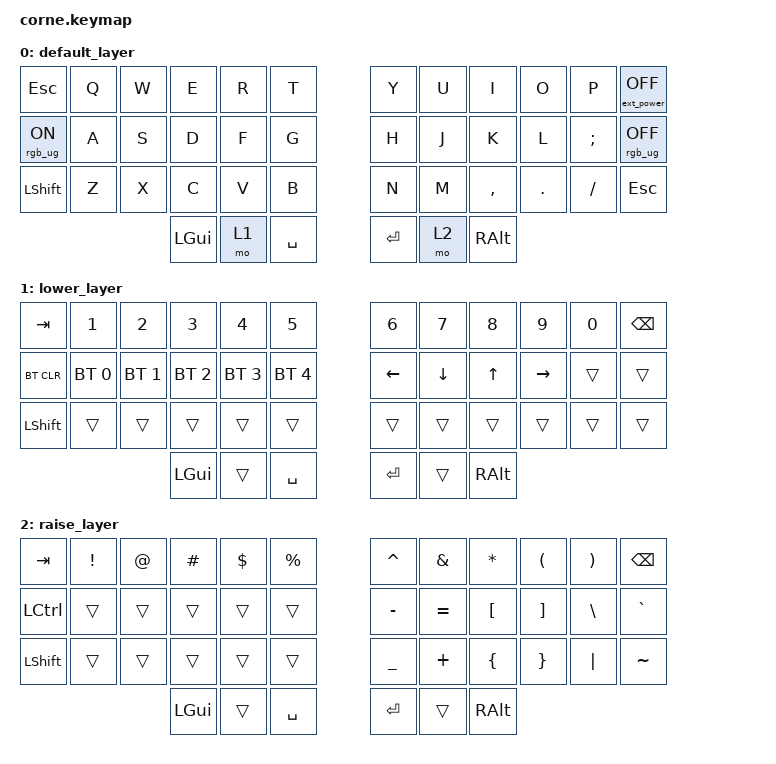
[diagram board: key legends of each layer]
/*
 * Copyright (c) 2020 The ZMK Contributors
 *
 * SPDX-License-Identifier: MIT
 */

#define ZMK_MOUSE_DEFAULT_SCRL_VAL 35 // 10

#include <behaviors/mouse_keys.dtsi>
#include <behaviors.dtsi>
#include <dt-bindings/zmk/bt.h>
#include <dt-bindings/zmk/ext_power.h>
#include <dt-bindings/zmk/keys.h>
#include <dt-bindings/zmk/rgb.h>

&msc {
    acceleration-exponent = <0>;      // 0
    time-to-max-speed-ms = <0>;       // 300
    delay-ms = <0>;                   // 0
};

&mmv {
    time-to-max-speed-ms = <400>;
    acceleration-exponent = <1>;
};

/ {
    keymap {
        compatible = "zmk,keymap";

        default_layer {
            // -----------------------------------------------------------------------------------------
            // |  TAB |  Q  |  W  |  E  |  R  |  T  |   |  Y  |  U   |  I  |  O  |  P  | BSPC |
            // | CTRL |  A  |  S  |  D  |  F  |  G  |   |  H  |  J   |  K  |  L  |  ;  |  '   |
            // | SHFT |  Z  |  X  |  C  |  V  |  B  |   |  N  |  M   |  ,  |  .  |  /  | ESC  |
            //                    | GUI | LWR | SPC |   | ENT | RSE  | ALT |

            bindings = <
&kp ESCAPE      &kp Q  &kp W  &kp E     &kp R  &kp T        &kp Y    &kp U  &kp I      &kp O    &kp P     &ext_power EP_OFF
&rgb_ug RGB_ON  &kp A  &kp S  &kp D     &kp F  &kp G        &kp H    &kp J  &kp K      &kp L    &kp SEMI  &rgb_ug RGB_OFF
&kp LSHFT       &kp Z  &kp X  &kp C     &kp V  &kp B        &kp N    &kp M  &kp COMMA  &kp DOT  &kp FSLH  &kp ESC
                              &kp LGUI  &mo 1  &kp SPACE    &kp RET  &mo 2  &kp RALT
            >;
        };

        lower_layer {
            // -----------------------------------------------------------------------------------------
            // |  TAB |  1  |  2  |  3  |  4  |  5  |   |  6  |  7  |  8  |  9  |  0  | BSPC |
            // | BTCLR| BT1 | BT2 | BT3 | BT4 | BT5 |   | LFT | DWN |  UP | RGT |     |      |
            // | SHFT |     |     |     |     |     |   |     |     |     |     |     |      |
            //                    | GUI |     | SPC |   | ENT |     | ALT |

            bindings = <
&kp TAB     &kp N1        &kp N2        &kp N3        &kp N4        &kp N5          &kp N6    &kp N7    &kp N8    &kp N9     &kp N0  &kp BSPC
&bt BT_CLR  &bt BT_SEL 0  &bt BT_SEL 1  &bt BT_SEL 2  &bt BT_SEL 3  &bt BT_SEL 4    &kp LEFT  &kp DOWN  &kp UP    &kp RIGHT  &trans  &trans
&kp LSHFT   &trans        &trans        &trans        &trans        &trans          &trans    &trans    &trans    &trans     &trans  &trans
                                        &kp LGUI      &trans        &kp SPACE       &kp RET   &trans    &kp RALT
            >;
        };

        raise_layer {
            // -----------------------------------------------------------------------------------------
            // |  TAB |  !  |  @  |  #  |  $  |  %  |   |  ^  |  &  |  *  |  (  |  )  | BSPC |
            // | CTRL |     |     |     |     |     |   |  -  |  =  |  [  |  ]  |  \  |  `   |
            // | SHFT |     |     |     |     |     |   |  _  |  +  |  {  |  }  | "|" |  ~   |
            //                    | GUI |     | SPC |   | ENT |     | ALT |

            bindings = <
&kp TAB    &kp EXCL  &kp AT  &kp HASH  &kp DLLR  &kp PRCNT    &kp CARET  &kp AMPS   &kp ASTRK  &kp LPAR  &kp RPAR  &kp BSPC
&kp LCTRL  &trans    &trans  &trans    &trans    &trans       &kp MINUS  &kp EQUAL  &kp LBKT   &kp RBKT  &kp BSLH  &kp GRAVE
&kp LSHFT  &trans    &trans  &trans    &trans    &trans       &kp UNDER  &kp PLUS   &kp LBRC   &kp RBRC  &kp PIPE  &kp TILDE
                             &kp LGUI  &trans    &kp SPACE    &kp RET    &trans     &kp RALT
            >;
        };
    };
};
